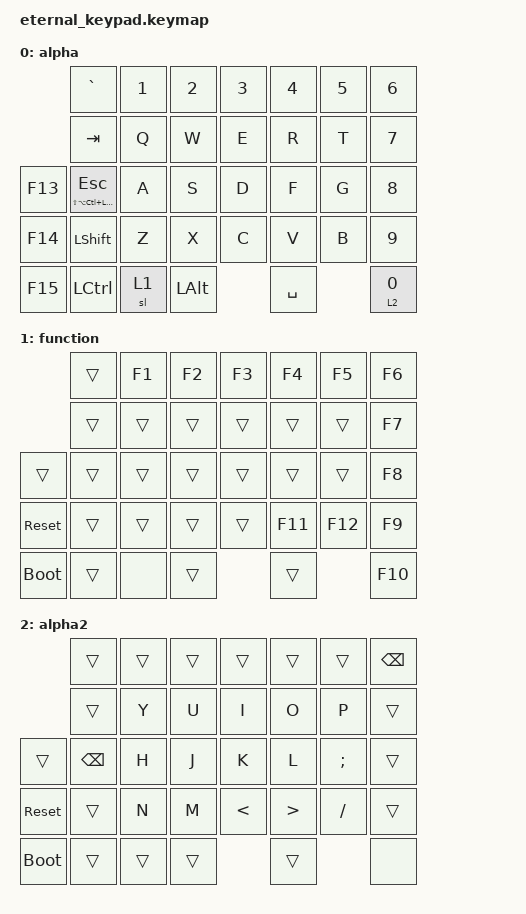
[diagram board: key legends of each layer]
/*
 * Copyright (c) 2022 The ZMK Contributors
 *
 * SPDX-License-Identifier: MIT
 */

#include <behaviors.dtsi>
#include <dt-bindings/zmk/keys.h>

#define BASE        0
#define ARROW       1
#define FUNC        2

/ {
    combos {
        compatible = "zmk,combos";

        enter {
            bindings = <&kp ENTER>;
            key-positions = <11 12>;
        };
    };

    keymap {
        compatible = "zmk,keymap";

        alpha {
            bindings = <
         &kp GRAVE                        &kp N1  &kp N2    &kp N3  &kp N4     &kp N5  &kp N6
         &kp TAB                          &kp Q   &kp W     &kp E   &kp R      &kp T   &kp N7
&kp F13  &mt LS(LA(LC(LEFT_GUI))) ESCAPE  &kp A   &kp S     &kp D   &kp F      &kp G   &kp N8
&kp F14  &kp LSHFT                        &kp Z   &kp X     &kp C   &kp V      &kp B   &kp N9
&kp F15  &kp LCTRL                        &sl 1   &kp LALT          &kp SPACE          &lt 2 N0
            >;
        };

        function {
            bindings = <
             &trans  &kp F1  &kp F2  &kp F3  &kp F4   &kp F5   &kp F6
             &trans  &trans  &trans  &trans  &trans   &trans   &kp F7
&trans       &trans  &trans  &trans  &trans  &trans   &trans   &kp F8
&sys_reset   &trans  &trans  &trans  &trans  &kp F11  &kp F12  &kp F9
&bootloader  &trans  &none   &trans          &trans            &kp F10
            >;
        };

        alpha2 {
            bindings = <
             &trans    &trans  &trans  &trans         &trans            &trans     &kp BACKSPACE
             &trans    &kp Y   &kp U   &kp I          &kp O             &kp P      &trans
&trans       &kp BSPC  &kp H   &kp J   &kp K          &kp L             &kp SEMI   &trans
&sys_reset   &trans    &kp N   &kp M   &kp LESS_THAN  &kp GREATER_THAN  &kp SLASH  &trans
&bootloader  &trans    &trans  &trans                 &trans                       &none
            >;
        };
    };
};
